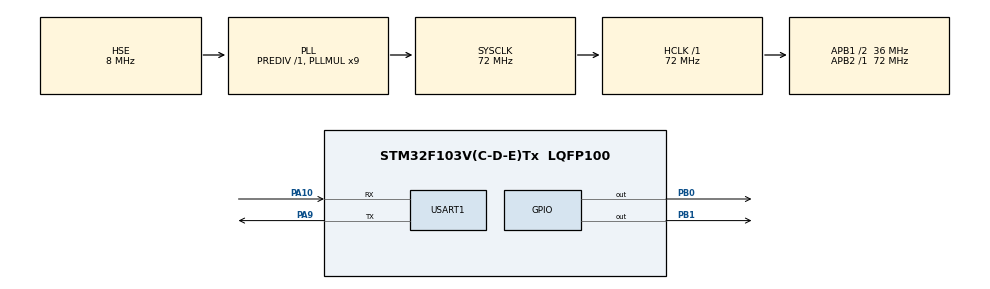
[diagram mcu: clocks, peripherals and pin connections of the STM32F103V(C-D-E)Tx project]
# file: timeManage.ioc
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Dma.Request0=USART1_RX
Dma.USART1_RX.0.Direction=DMA_PERIPH_TO_MEMORY
Dma.USART1_RX.0.Instance=DMA1_Channel5
Dma.USART1_RX.0.MemDataAlignment=DMA_MDATAALIGN_BYTE
Dma.USART1_RX.0.MemInc=DMA_MINC_ENABLE
Dma.USART1_RX.0.Mode=DMA_NORMAL
Dma.USART1_RX.0.PeriphDataAlignment=DMA_PDATAALIGN_BYTE
Dma.USART1_RX.0.PeriphInc=DMA_PINC_DISABLE
Dma.USART1_RX.0.Priority=DMA_PRIORITY_LOW
FREERTOS.Tasks01=defaultTask,24,128,StartDefaultTask,Default,NULL,Dynamic,NULL,NULL
Mcu.Family=STM32F1
Mcu.Name=STM32F103V(C-D-E)Tx
Mcu.Package=LQFP100
NVIC.DMA1_Channel5_IRQn=true\:5\:0\:false\:false\:true\:true\:false\:true\:true
NVIC.PriorityGroup=NVIC_PRIORITYGROUP_4
NVIC.TIM6_IRQn=true\:15\:0\:false\:false\:true\:false\:false\:true\:true
NVIC.TimeBase=TIM6_IRQn
NVIC.TimeBaseIP=TIM6
NVIC.USART1_IRQn=true\:5\:0\:true\:false\:true\:true\:true\:true\:true
OSC_IN.Mode=HSE-External-Oscillator
OSC_IN.Signal=RCC_OSC_IN
OSC_OUT.Mode=HSE-External-Oscillator
OSC_OUT.Signal=RCC_OSC_OUT
PA10.Mode=Asynchronous
PA10.Signal=USART1_RX
PA13.Mode=Serial_Wire
PA13.Signal=SYS_JTMS-SWDIO
PA14.Mode=Serial_Wire
PA14.Signal=SYS_JTCK-SWCLK
PA9.Mode=Asynchronous
PA9.Signal=USART1_TX
PB0.GPIO_Speed=GPIO_SPEED_FREQ_LOW
PB0.PinState=GPIO_PIN_SET
PB0.Signal=GPIO_Output
PB1.PinState=GPIO_PIN_SET
PB1.Signal=GPIO_Output
PC14-OSC32_IN.Mode=LSE-External-Oscillator
PC14-OSC32_IN.Signal=RCC_OSC32_IN
PC15-OSC32_OUT.Mode=LSE-External-Oscillator
PC15-OSC32_OUT.Signal=RCC_OSC32_OUT
ProjectManager.HeapSize=0x200
ProjectManager.StackSize=0x400
ProjectManager.TargetToolchain=MDK-ARM V5.32
RCC.AHBFreq_Value=72000000
RCC.APB1CLKDivider=RCC_HCLK_DIV2
RCC.APB1Freq_Value=36000000
RCC.APB1TimFreq_Value=72000000
RCC.APB2Freq_Value=72000000
RCC.APB2TimFreq_Value=72000000
RCC.HCLKFreq_Value=72000000
RCC.PLLMUL=RCC_PLL_MUL9
RCC.PLLSourceVirtual=RCC_PLLSOURCE_HSE
RCC.SYSCLKFreq_VALUE=72000000
RCC.SYSCLKSource=RCC_SYSCLKSOURCE_PLLCLK
RCC.USBFreq_Value=72000000
USART1.VirtualMode=VM_ASYNC
VP_FREERTOS_VS_CMSIS_V2.Mode=CMSIS_V2
VP_SYS_VS_tim6.Mode=TIM6
board=custom

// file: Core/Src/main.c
/* USER CODE BEGIN Header */
/**
  ******************************************************************************
  * @file           : main.c
  * @brief          : Main program body
  ******************************************************************************
  * @attention
  *
  * Copyright (c) 2025 STMicroelectronics.
  * All rights reserved.
  *
  * This software is licensed under terms that can be found in the LICENSE file
  * in the root directory of this software component.
  * If no LICENSE file comes with this software, it is provided AS-IS.
  *
  ******************************************************************************
  */
/* USER CODE END Header */
#include "main.h"
#include "cmsis_os.h"
#include "dma.h"
#include "usart.h"
#include "gpio.h"

/* USER CODE BEGIN PV */
extern uint8_t rxBuffer[15];
/* USER CODE END PV */

void SystemClock_Config(void);
void MX_FREERTOS_Init(void);

int main(void)
{

  /* MCU Configuration--------------------------------------------------------*/

  /* Reset of all peripherals, Initializes the Flash interface and the Systick. */
  HAL_Init();

  /* Configure the system clock */
  SystemClock_Config();

  /* Initialize all configured peripherals */
  MX_GPIO_Init();
  MX_DMA_Init();
  MX_USART1_UART_Init();
  /* USER CODE BEGIN 2 */
	HAL_UART_Receive_DMA(&huart1, rxBuffer, 15);
	__HAL_UART_ENABLE_IT(&huart1, UART_IT_IDLE);
  /* USER CODE END 2 */

  /* Init scheduler */
  osKernelInitialize();

  /* Call init function for freertos objects (in cmsis_os2.c) */
  MX_FREERTOS_Init();

  /* Start scheduler */
  osKernelStart();

  /* We should never get here as control is now taken by the scheduler */

  /* Infinite loop */
  while (1)
  {

  }
}

void SystemClock_Config(void)
{
  RCC_OscInitTypeDef RCC_OscInitStruct = {0};
  RCC_ClkInitTypeDef RCC_ClkInitStruct = {0};

  /** Initializes the RCC Oscillators according to the specified parameters
  * in the RCC_OscInitTypeDef structure.
  */
  RCC_OscInitStruct.OscillatorType = RCC_OSCILLATORTYPE_HSE;
  RCC_OscInitStruct.HSEState = RCC_HSE_ON;
  RCC_OscInitStruct.HSEPredivValue = RCC_HSE_PREDIV_DIV1;
  RCC_OscInitStruct.HSIState = RCC_HSI_ON;
  RCC_OscInitStruct.PLL.PLLState = RCC_PLL_ON;
  RCC_OscInitStruct.PLL.PLLSource = RCC_PLLSOURCE_HSE;
  RCC_OscInitStruct.PLL.PLLMUL = RCC_PLL_MUL9;
  if (HAL_RCC_OscConfig(&RCC_OscInitStruct) != HAL_OK)
  {
    Error_Handler();
  }

  /** Initializes the CPU, AHB and APB buses clocks
  */
  RCC_ClkInitStruct.ClockType = RCC_CLOCKTYPE_HCLK|RCC_CLOCKTYPE_SYSCLK
                              |RCC_CLOCKTYPE_PCLK1|RCC_CLOCKTYPE_PCLK2;
  RCC_ClkInitStruct.SYSCLKSource = RCC_SYSCLKSOURCE_PLLCLK;
  RCC_ClkInitStruct.AHBCLKDivider = RCC_SYSCLK_DIV1;
  RCC_ClkInitStruct.APB1CLKDivider = RCC_HCLK_DIV2;
  RCC_ClkInitStruct.APB2CLKDivider = RCC_HCLK_DIV1;

  if (HAL_RCC_ClockConfig(&RCC_ClkInitStruct, FLASH_LATENCY_2) != HAL_OK)
  {
    Error_Handler();
  }
}

void HAL_TIM_PeriodElapsedCallback(TIM_HandleTypeDef *htim)
{
  if (htim->Instance == TIM6) {
    HAL_IncTick();
  }
}

void Error_Handler(void)
{
  __disable_irq();
  while (1)
  {
  }
}

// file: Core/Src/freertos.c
/* USER CODE BEGIN Header */
/**
  ******************************************************************************
  * File Name          : freertos.c
  * Description        : Code for freertos applications
  ******************************************************************************
  * @attention
  *
  * Copyright (c) 2025 STMicroelectronics.
  * All rights reserved.
  *
  * This software is licensed under terms that can be found in the LICENSE file
  * in the root directory of this software component.
  * If no LICENSE file comes with this software, it is provided AS-IS.
  *
  ******************************************************************************
  */
/* USER CODE END Header */

#include "FreeRTOS.h"
#include "task.h"
#include "main.h"
#include "cmsis_os.h"

/* USER CODE BEGIN Includes */
#include "stdio.h"
#include "string.h"
#include "gpio.h"
/* USER CODE END Includes */

/* USER CODE BEGIN PTD */
typedef enum {
    normalDelay=0,
    absDelay
} delayMethod;
/* USER CODE END PTD */

/* USER CODE BEGIN Variables */
TaskHandle_t taskA_handle=NULL;
TaskHandle_t taskB_handle=NULL;
TaskHandle_t taskC_handle=NULL;

uint16_t g_normalDelayTime = 1000;
uint16_t g_absDelayTime = 2000;
delayMethod g_delayMethod=normalDelay;
extern uint8_t rxBuffer[15];
/* USER CODE END Variables */
/* Definitions for defaultTask */
osThreadId_t defaultTaskHandle;
const osThreadAttr_t defaultTask_attributes = {
  .name = "defaultTask",
  .stack_size = 128 * 4,
  .priority = (osPriority_t) osPriorityNormal,
};

/* USER CODE BEGIN FunctionPrototypes */
void TaskA(void *args);
void TaskB(void *args);
void TaskC(void *args);
/* USER CODE END FunctionPrototypes */

void StartDefaultTask(void *argument);

void MX_FREERTOS_Init(void); /* (MISRA C 2004 rule 8.1) */

void MX_FREERTOS_Init(void) {

  /* Create the thread(s) */
  /* creation of defaultTask */
  defaultTaskHandle = osThreadNew(StartDefaultTask, NULL, &defaultTask_attributes);

}

void StartDefaultTask(void *argument)
{
  /* USER CODE BEGIN StartDefaultTask */
    vTaskSuspendAll();
    xTaskCreate((TaskFunction_t)TaskA,
                "TaskA",
                (configSTACK_DEPTH_TYPE)128,
                NULL,
                //&g_normalDelayTime,
                (UBaseType_t)1,
                &taskA_handle
               );

    xTaskCreate((TaskFunction_t)TaskB,
                "TaskB",
                (configSTACK_DEPTH_TYPE)128,
                NULL,
                (UBaseType_t)1,
                &taskB_handle
               );

    xTaskCreate((TaskFunction_t)TaskC,
                "TaskC",
                (configSTACK_DEPTH_TYPE)128,
                NULL,
                (UBaseType_t)1,
                &taskC_handle
               );
    xTaskResumeAll();
    vTaskDelete(NULL);
    /* Infinite loop */
    for(;;)
    {
        osDelay(1);
    }
  /* USER CODE END StartDefaultTask */
}

/* USER CODE BEGIN Application */
void TaskA(void *args)
{
    TickType_t xLastWakeTime;
    for(;;) {
				vTaskSuspendAll();
        printf("TaskA is running\r\n");
        if(g_delayMethod == normalDelay) {
					HAL_GPIO_TogglePin(GPIOB, GPIO_PIN_0);
					printf("normalDelay\r\n");
					xTaskResumeAll();
          vTaskDelay(g_normalDelayTime);
        }
        else if(g_delayMethod == absDelay){
					HAL_GPIO_TogglePin(GPIOB, GPIO_PIN_1);
					xLastWakeTime = xTaskGetTickCount();	//初始化
					printf("absDelay\r\n");
					xTaskResumeAll();
					vTaskDelayUntil(&xLastWakeTime,g_absDelayTime);	//等待下一个周期
				}
				//xTaskResumeAll();
    }
}

void TaskB(void *args)
{
    for(;;) {
				if(!strcmp("normalDelay",(const char*)rxBuffer)){
					vTaskSuspendAll();
					g_delayMethod = normalDelay;
					printf("TaskB normalDelay\r\n");
					xTaskResumeAll();
				}
    }
}

void TaskC(void *args)
{
    for(;;) {
				if(!strcmp("absDelay",(const char*)rxBuffer)){
						vTaskSuspendAll();
						g_delayMethod = absDelay;
						printf("TaskC absDelay\r\n");
						xTaskResumeAll();
				}
    }
}
/* USER CODE END Application */
